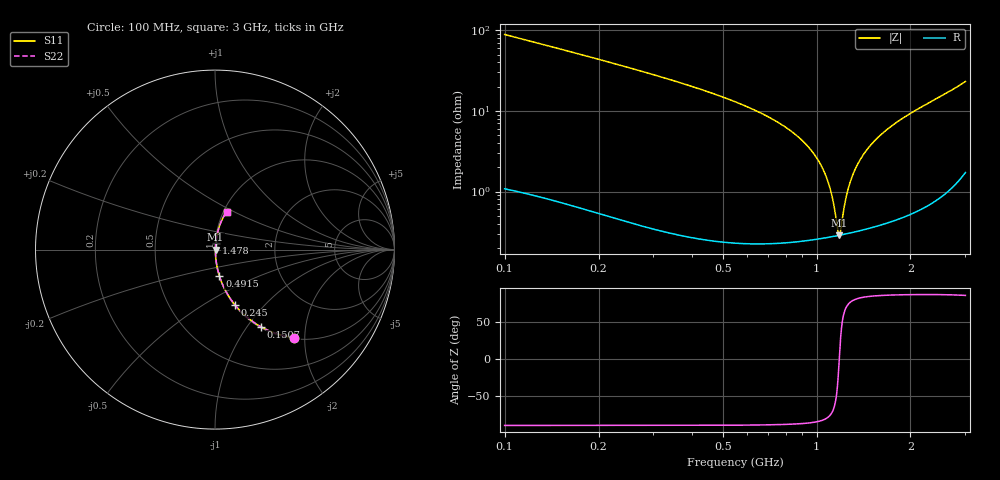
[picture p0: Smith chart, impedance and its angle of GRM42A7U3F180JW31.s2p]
!Murata Part Number: GRM42A7U3F180JW31
!These Parameters are Measured in Series Mode Connection
!Data Generated on Mar 30, 2021
!  o--ll--o
!Port1  Port2
!  o------o
!Operation Temp=25[degC], DC Bias Voltage=0[V]
!Freq. Start=100[MHz] Stop=3[GHz] 401[Steps]
# Hz S RI R 50
!Freq.(Hz) S11(Real) S11(Imag) S21(Real) S21(Imag) S12(Real) S12(Imag) S22(Real) S22(Imag)
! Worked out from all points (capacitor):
!   401 points, 100 MHz to 3 GHz, reference 50 ohm
!   read as one part in series: C = 17.7 pF near 114.5 MHz
!   lowest |Z| = 288 mohm at 1.18 GHz (marker M1)
!   series resonance near 1.182 GHz, so ESL is about 1 nH
!   S11 on the Smith chart (normalised r, x): 100 MHz: 1.02, -1.77; 150.8 MHz: 1.01, -1.17; 245 MHz: 1.01, -0.70; 491.5 MHz: 1.00, -0.30; 1.478 GHz: 1.01, +0.07; 3 GHz: 1.03, +0.46
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1e8  0.4409 -0.4904  0.5591 0.4904  0.5591 0.4904  0.4409 -0.4904
1.5075e8  0.2579 -0.4312  0.7421 0.4312  0.7421 0.4312  0.2579 -0.4312
2.45e8  0.1132 -0.3108  0.8868 0.3108  0.8868 0.3108  0.1132 -0.3108
4.915e8  0.0249 -0.1483  0.9751 0.1483  0.9751 0.1483  0.0249 -0.1483
5.8575e8  0.0157 -0.1149  0.9843 0.1149  0.9843 0.1149  0.0157 -0.1149
9.0475e8  0.00417 -0.0417  0.9958 0.0417  0.9958 0.0417  0.00417 -0.0417
9.99e8  0.00324 -0.0262  0.9968 0.0262  0.9968 0.0262  0.00324 -0.0262
1.0715e9  0.0029 -0.0153  0.9971 0.0153  0.9971 0.0153  0.0029 -0.0153
1.115e9  0.00283 -0.00915  0.9972 0.00915  0.9972 0.00915  0.00283 -0.00915
1.16575e9  0.00284 -0.00222  0.9972 0.00222  0.9972 0.00222  0.00284 -0.00222
1.18025e9  0.00286 -0.00029  0.9971 0.00029  0.9971 0.00029  0.00286 -0.00029
1.19475e9  0.00289 0.00162  0.9971 -0.00162  0.9971 -0.00162  0.00289 0.00162
1.231e9  0.003 0.0063  0.997 -0.0063  0.997 -0.0063  0.003 0.0063
1.25275e9  0.00308 0.00906  0.9969 -0.00906  0.9969 -0.00906  0.00308 0.00906
1.29625e9  0.0033 0.0145  0.9967 -0.0145  0.9967 -0.0145  0.0033 0.0145
1.376e9  0.00384 0.024  0.9962 -0.024  0.9962 -0.024  0.00384 0.024
1.4775e9  0.00478 0.0357  0.9952 -0.0357  0.9952 -0.0357  0.00478 0.0357
1.55e9  0.0056 0.0437  0.9944 -0.0437  0.9944 -0.0437  0.0056 0.0437
1.753e9  0.00859 0.0655  0.9914 -0.0655  0.9914 -0.0655  0.00859 0.0655
2.03575e9  0.0145 0.095  0.9855 -0.095  0.9855 -0.095  0.0145 0.095
2.5215e9  0.0313 0.1483  0.9687 -0.1483  0.9687 -0.1483  0.0313 0.1483
3e9  0.0651 0.2123  0.9349 -0.2123  0.9349 -0.2123  0.0651 0.2123
